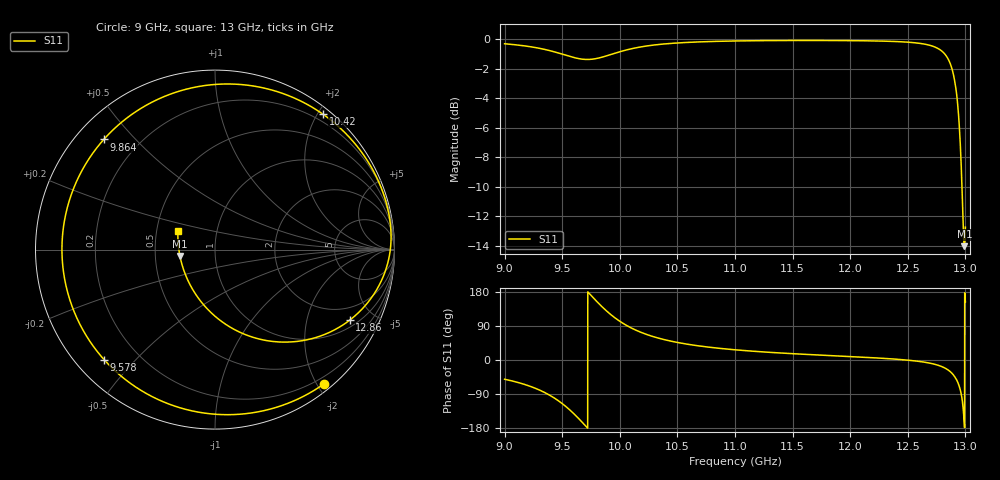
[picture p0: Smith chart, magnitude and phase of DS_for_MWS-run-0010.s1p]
! TOUCHSTONE file generated by CST DESIGN STUDIO
! Date and time: Tue Feb  4 13:24:58 2025
! Project name: C:\Work\MatlabApps\UnitCellOptimizationMatlab\CST\unitcell.cst
! Tree item: Tasks\Sweep1\SPara1\S-Parameters
! Header version: 2024
! Port assignment regex: !\s*Touchstone port\s*([0-9]+)\s*=\s*(CST MWS port|CST DES external port|CST DES block port)\s*(.+)\s* \(\"(.*)\"\)(\s*mode\s*([0-9]+))?.*
! Touchstone port assignment:
! Touchstone port 1 = CST DES external port 1 ("")
# GHz S MA R 50
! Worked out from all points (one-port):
!   4001 points, 9 GHz to 13 GHz, reference 50 ohm
!   lowest |S11| = -14.0 dB at 12.99 GHz (marker M1), VSWR 1.50, Z = 33.6 - j2.53 ohm
!   |S11| at or under -10 dB: 12.97024 GHz to end of sweep
!   S11 on the Smith chart (normalised r, x): 9 GHz: 0.10, -2.10; 9.578 GHz: 0.08, -0.41; 9.864 GHz: 0.08, +0.41; 10.42 GHz: 0.10, +2.08; 12.86 GHz: 1.30, -3.62; 13 GHz: 0.65, +0.14
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9  0.9639 -50.8
9.137  0.952 -61.1
9.264  0.9362 -74.3
9.397  0.9125 -93.9
9.5  0.8889 -115.0
9.578  0.8705 -135.1
9.655  0.8568 -158.3
9.721  0.8527 -179.9
9.788  0.8577 158.3
9.864  0.8721 135.3
9.93  0.8883 117.8
10  0.9056 102.2
10.086  0.9242 86.7
10.195  0.9423 71.7
10.42  0.9649 51.3
10.5  0.9699 46.3
11  0.9851 26.9
11.5  0.9889 16.7
12  0.9877 9.1
12.5  0.9759 -0.4
12.74  0.9381 -11.8
12.807  0.9019 -18.9
12.856  0.8471 -27.7
12.901  0.7424 -41.4
12.939  0.5634 -62.8
12.963  0.379 -88.6
12.991  0.1987 -169.5
13  0.2306 153.5
